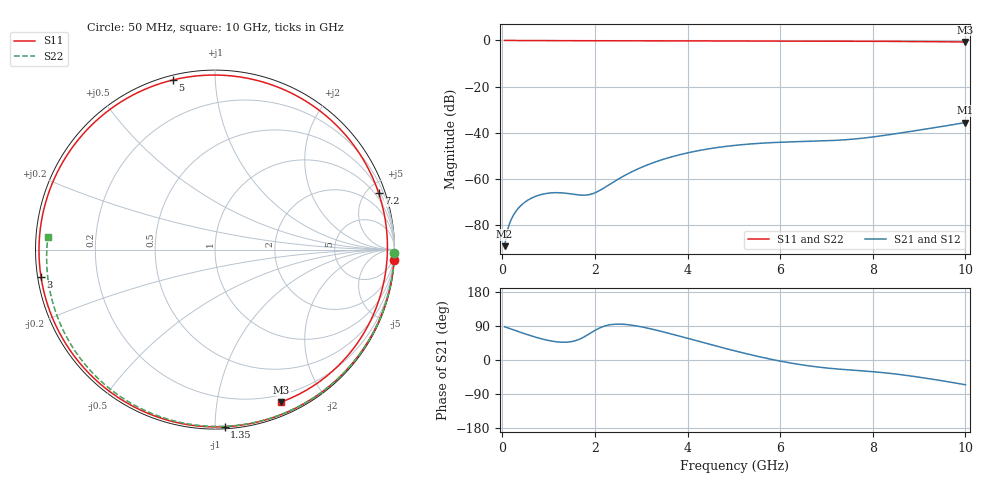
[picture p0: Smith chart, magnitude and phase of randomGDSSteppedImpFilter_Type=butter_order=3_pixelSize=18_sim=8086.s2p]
! freq	dB(S11)	phase(S11)	dB(S12)	phase(S12)
!  dB(S21)	phase(S21)	dB(S22)	phase(S22)
!S-par simulation data
#  GHz  S  DB  R 50
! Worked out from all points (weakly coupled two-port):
!   200 points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, 50 MHz to 10 GHz, reference 50 ohm
!   highest |S21| = -35.62 dB at 10 GHz (marker M1); lowest = -89.3 dB at 50 MHz (marker M2)
!   lowest |S11| = -0.7 dB at 10 GHz (marker M3), VSWR 25.95, Z = 6.38 - j75.8 ohm
!   |S11| at or under -10 dB: nowhere
!   |S22| runs from -0.6 to 0.0 dB; largest |S21 - S12| = 0
!   S11 on the Smith chart (normalised r, x): 50 MHz: 0, -33; 1.35 GHz: 0.01, -1.06; 3 GHz: 0.01, -0.08; 5 GHz: 0.02, +0.78; 7.2 GHz: 0.65, +5.89; 10 GHz: 0.13, -1.52
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0.05  -0.00 -3.4  -89.28 87.8  -89.28 87.8  -0.00 -1.1
0.15  -0.01 -10.3  -79.80 83.4  -79.80 83.4  -0.00 -3.2
0.35  -0.04 -23.7  -72.73 74.8  -72.73 74.8  -0.01 -7.4
0.6  -0.05 -40.3  -68.75 64.7  -68.75 64.7  -0.02 -12.7
1  -0.08 -65.8  -66.26 51.5  -66.26 51.5  -0.03 -21.0
1.35  -0.10 -86.9  -66.25 46.8  -66.25 46.8  -0.04 -28.3
1.75  -0.12 -109.4  -67.15 59.8  -67.15 59.8  -0.05 -36.4
2  -0.13 -122.7  -66.12 78.1  -66.12 78.1  -0.05 -41.5
2.4  -0.14 -142.9  -61.46 94.1  -61.46 94.1  -0.06 -49.5
3  -0.16 -171.0  -55.11 87.6  -55.11 87.6  -0.08 -61.2
3.4  -0.18 171.2  -52.08 76.6  -52.08 76.6  -0.09 -68.8
3.8  -0.19 153.9  -49.75 63.8  -49.75 63.8  -0.10 -76.3
4.25  -0.20 134.9  -47.76 48.9  -47.76 48.9  -0.12 -84.6
5  -0.23 104.0  -45.58 24.7  -45.58 24.7  -0.15 -98.0
5.05  -0.23 101.9  -45.47 23.2  -45.47 23.2  -0.15 -98.9
5.8  -0.26 71.9  -44.36 2.0  -44.36 2.0  -0.19 -111.9
6.7  -0.29 37.3  -43.74 -16.8  -43.74 -16.8  -0.25 -127.2
7.2  -0.31 19.0  -43.35 -23.4  -43.35 -23.4  -0.29 -135.6
7.75  -0.35 0.0  -42.48 -28.5  -42.48 -28.5  -0.33 -144.9
8.35  -0.40 -19.4  -40.91 -35.0  -40.91 -35.0  -0.39 -155.1
9.2  -0.51 -44.7  -38.28 -49.0  -38.28 -49.0  -0.49 -169.8
10  -0.67 -66.5  -35.62 -65.3  -35.62 -65.3  -0.60 175.6
